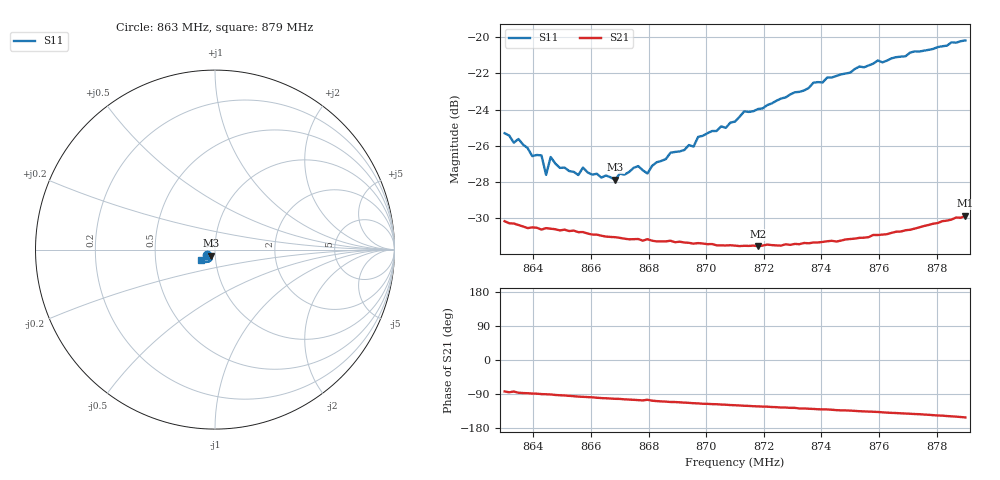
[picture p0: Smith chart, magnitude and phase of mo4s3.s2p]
# HZ S RI R 50
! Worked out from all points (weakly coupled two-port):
!   101 points, 863 MHz to 879 MHz, reference 50 ohm
!   highest |S21| = -29.85 dB at 879 MHz (marker M1); lowest = -31.5 dB at 871.8 MHz (marker M2)
!   lowest |S11| = -27.9 dB at 866.84 MHz (marker M3), VSWR 1.08, Z = 47.7 - j3.21 ohm
!   |S11| at or under -10 dB: start of sweep to end of sweep
!   S12 and S22 are empty: the file has one direction only
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8.63e8  -0.0443 -0.0315  0.00381 -0.0308  0 0  0 0
8.6332e8  -0.0409 -0.0307  0.00366 -0.0304  0 0  0 0
8.6348e8  -0.0425 -0.0306  0.0019 -0.0303  0 0  0 0
8.6396e8  -0.0376 -0.0281  0.000769 -0.0299  0 0  0 0
8.6428e8  -0.036 -0.0305  2e-06 -0.0295  0 0  0 0
8.6444e8  -0.0313 -0.0276  -0.000224 -0.0297  0 0  0 0
8.646e8  -0.0353 -0.0306  -0.000474 -0.0296  0 0  0 0
8.6492e8  -0.0318 -0.0298  -0.00156 -0.0293  0 0  0 0
8.6556e8  -0.0281 -0.0307  -0.00333 -0.0288  0 0  0 0
8.6572e8  -0.028 -0.0335  -0.00362 -0.0288  0 0  0 0
8.6684e8  -0.0225 -0.0336  -0.00606 -0.0274  0 0  0 0
8.6764e8  -0.0209 -0.0388  -0.00757 -0.0267  0 0  0 0
8.6796e8  -0.0189 -0.0376  -0.00713 -0.0268  0 0  0 0
8.6844e8  -0.0177 -0.042  -0.00899 -0.0258  0 0  0 0
8.6956e8  -0.018 -0.0466  -0.011 -0.0246  0 0  0 0
8.6972e8  -0.0183 -0.0498  -0.0112 -0.0246  0 0  0 0
8.71e8  -0.0196 -0.0551  -0.013 -0.0232  0 0  0 0
8.7132e8  -0.023 -0.058  -0.0136 -0.0228  0 0  0 0
8.718e8  -0.0247 -0.0584  -0.0142 -0.0224  0 0  0 0
8.7372e8  -0.0344 -0.0665  -0.0171 -0.021  0 0  0 0
8.7644e8  -0.055 -0.068  -0.022 -0.0187  0 0  0 0
8.79e8  -0.0777 -0.0597  -0.0283 -0.0153  0 0  0 0
